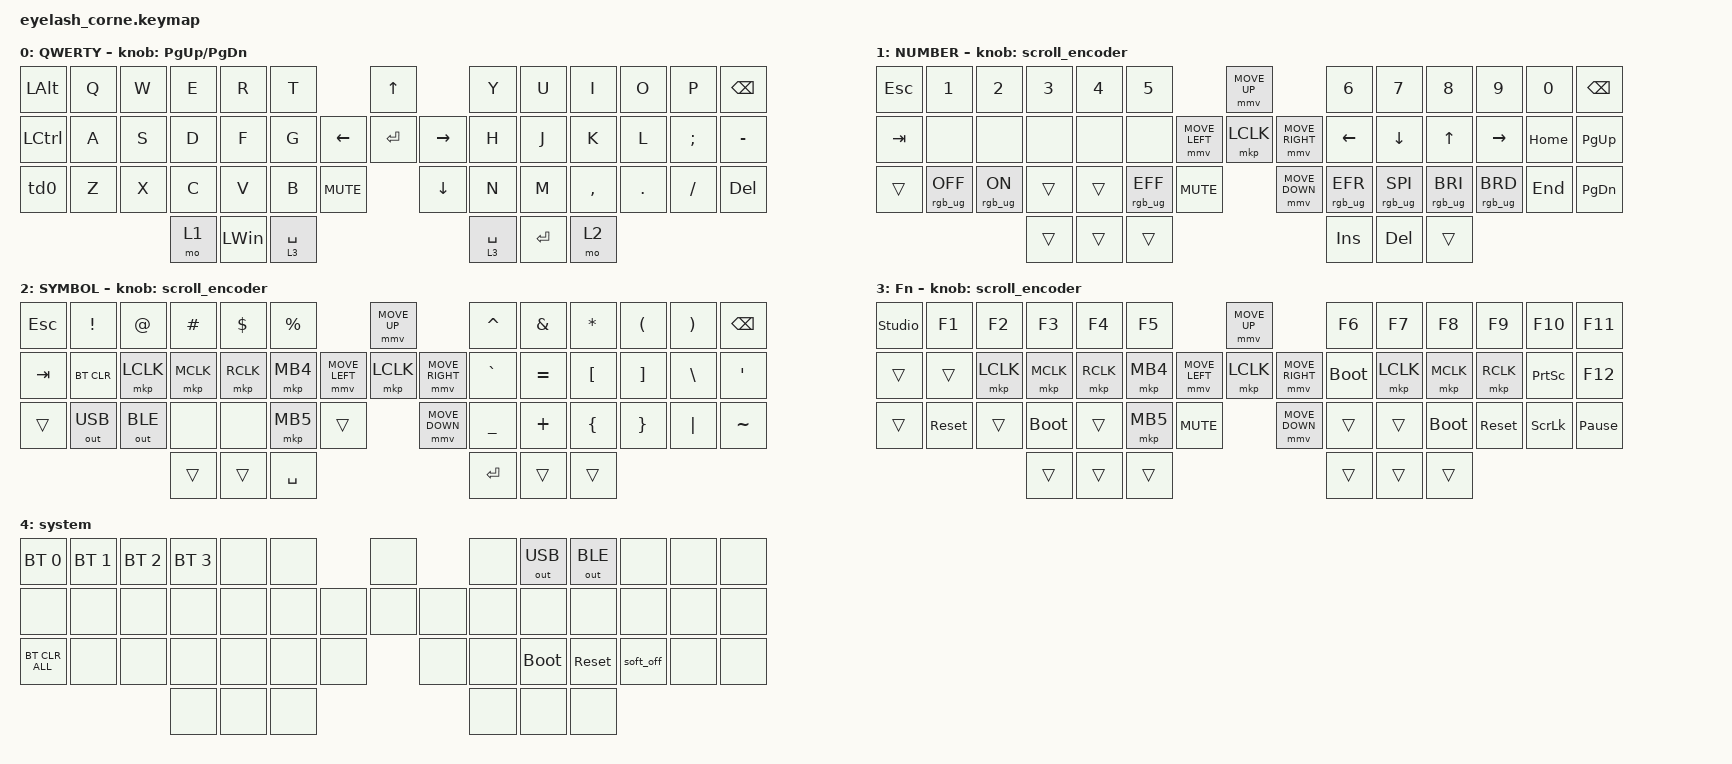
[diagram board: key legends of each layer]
#define ZMK_POINTING_DEFAULT_MOVE_VAL 1200  // 600
#define ZMK_POINTING_DEFAULT_SCRL_VAL 25   // 10

#include <input/processors.dtsi>
#include <zephyr/dt-bindings/input/input-event-codes.h>
#include <behaviors.dtsi>
#include <dt-bindings/zmk/bt.h>
#include <dt-bindings/zmk/keys.h>
#include <dt-bindings/zmk/outputs.h>
#include <dt-bindings/zmk/pointing.h>
#include <dt-bindings/zmk/rgb.h>

&mmv_input_listener { input-processors = <&zip_xy_scaler 2 1>; };

&msc_input_listener { input-processors = <&zip_scroll_scaler 2 1>; };

&msc {
    acceleration-exponent = <1>;      // 0
    time-to-max-speed-ms = <100>;       // 300
    delay-ms = <0>;                   // 0
};

&mmv {
    time-to-max-speed-ms = <500>;
    acceleration-exponent = <1>;
    trigger-period-ms = <16>;
};

/ {
    behaviors {
        td0: td0 {
            compatible = "zmk,behavior-tap-dance";
            display-name = "Shift/Caps Lock Tap Dance";
            #binding-cells = <0>;
            bindings = <&kp LEFT_SHIFT>, <&kp CAPS>;
        };
    };

    rgb_encoder: rgb_encoder {
        compatible = "zmk,behavior-sensor-rotate";
        #sensor-binding-cells = <0>;
        bindings = <&rgb_ug RGB_BRI>, <&rgb_ug RGB_BRD>;
    };

    scroll_encoder: scroll_encoder {
        compatible = "zmk,behavior-sensor-rotate";
        #sensor-binding-cells = <0>;
        bindings = <&msc SCRL_DOWN>, <&msc SCRL_UP>;

        tap-ms = <100>;
    };

    keymap {
        compatible = "zmk,keymap";

        default_layer {
            display-name = "QWERTY";
            bindings = <
&kp LEFT_ALT      &kp Q  &kp W  &kp E  &kp R         &kp T                                &kp UP                &kp Y        &kp U      &kp I      &kp O    &kp P     &kp BSPC
&kp LEFT_CONTROL  &kp A  &kp S  &kp D  &kp F         &kp G                      &kp LEFT  &kp ENTER  &kp RIGHT  &kp H        &kp J      &kp K      &kp L    &kp SEMI  &kp MINUS
&td0              &kp Z  &kp X  &kp C  &kp V         &kp B        &kp C_MUTE              &kp DOWN              &kp N        &kp M      &kp COMMA  &kp DOT  &kp FSLH  &kp DELETE
                                &mo 1  &kp LEFT_WIN  &lt 3 SPACE                                                &lt 3 SPACE  &kp ENTER  &mo 2
            >;

            sensor-bindings = <&inc_dec_kp PAGE_UP PAGE_DOWN>;
        };

        lower_layer {
            display-name = "NUMBER";
            bindings = <
&kp ESCAPE  &kp N1           &kp N2          &kp N3  &kp N4  &kp N5                                         &mmv MOVE_UP                     &kp N6           &kp N7           &kp N8           &kp N9           &kp N0    &kp BSPC
&kp TAB     &none            &none           &none   &none   &none                          &mmv MOVE_LEFT  &mkp LCLK       &mmv MOVE_RIGHT  &kp LEFT         &kp DOWN         &kp UP           &kp RIGHT        &kp HOME  &kp PG_UP
&trans      &rgb_ug RGB_OFF  &rgb_ug RGB_ON  &trans  &trans  &rgb_ug RGB_EFF  &kp C_MUTE                    &mmv MOVE_DOWN                   &rgb_ug RGB_EFR  &rgb_ug RGB_SPI  &rgb_ug RGB_BRI  &rgb_ug RGB_BRD  &kp END   &kp PG_DN
                                             &trans  &trans  &trans                                                                          &kp INS          &kp DEL          &trans
            >;

            sensor-bindings = <&scroll_encoder>;
        };

        raise_layer {
            display-name = "SYMBOL";
            bindings = <
&kp ESCAPE  &kp EXCL      &kp AT        &kp HASH   &kp DLLR   &kp PRCNT                            &mmv MOVE_UP                     &kp CARET  &kp AMPS   &kp ASTRK  &kp LPAR  &kp RPAR  &kp BSPC
&kp TAB     &bt BT_CLR    &mkp LCLK     &mkp MCLK  &mkp RCLK  &mkp MB4             &mmv MOVE_LEFT  &mkp LCLK       &mmv MOVE_RIGHT  &kp GRAVE  &kp EQUAL  &kp LBKT   &kp RBKT  &kp BSLH  &kp APOS
&trans      &out OUT_USB  &out OUT_BLE  &none      &none      &mkp MB5   &trans                    &mmv MOVE_DOWN                   &kp UNDER  &kp PLUS   &kp LBRC   &kp RBRC  &kp PIPE  &kp TILDE
                                        &trans     &trans     &kp SPACE                                                             &kp RET    &trans     &trans
            >;

            sensor-bindings = <&scroll_encoder>;
        };

        layer_3 {
            display-name = "Fn";
            bindings = <
&studio_unlock  &kp F1      &kp F2     &kp F3       &kp F4     &kp F5                                  &mmv MOVE_UP                     &kp F6       &kp F7     &kp F8       &kp F9      &kp F10          &kp F11
&trans          &trans      &mkp LCLK  &mkp MCLK    &mkp RCLK  &mkp MB4                &mmv MOVE_LEFT  &mkp LCLK       &mmv MOVE_RIGHT  &bootloader  &mkp LCLK  &mkp MCLK    &mkp RCLK   &kp PRINTSCREEN  &kp F12
&trans          &sys_reset  &trans     &bootloader  &trans     &mkp MB5  &kp C_MUTE                    &mmv MOVE_DOWN                   &trans       &trans     &bootloader  &sys_reset  &kp SCROLLLOCK   &kp PAUSE_BREAK
                                       &trans       &trans     &trans                                                                   &trans       &trans     &trans
            >;

            sensor-bindings = <&scroll_encoder>;
        };

        system {
            bindings = <
&bt BT_SEL 0    &bt BT_SEL 1  &bt BT_SEL 2  &bt BT_SEL 3  &none  &none                  &none         &none  &out OUT_USB  &out OUT_BLE  &none      &none  &none
&none           &none         &none         &none         &none  &none           &none  &none  &none  &none  &none         &none         &none      &none  &none
&bt BT_CLR_ALL  &none         &none         &none         &none  &none  &none           &none         &none  &bootloader   &sys_reset    &soft_off  &none  &none
                                            &none         &none  &none                                &none  &none         &none
            >;
        };
    };

    conditional_layers {
        compatible = "zmk,conditional-layers";

        tri_layer {
            if-layers = <1 2>;
            then-layer = <4>;
        };
    };
};
